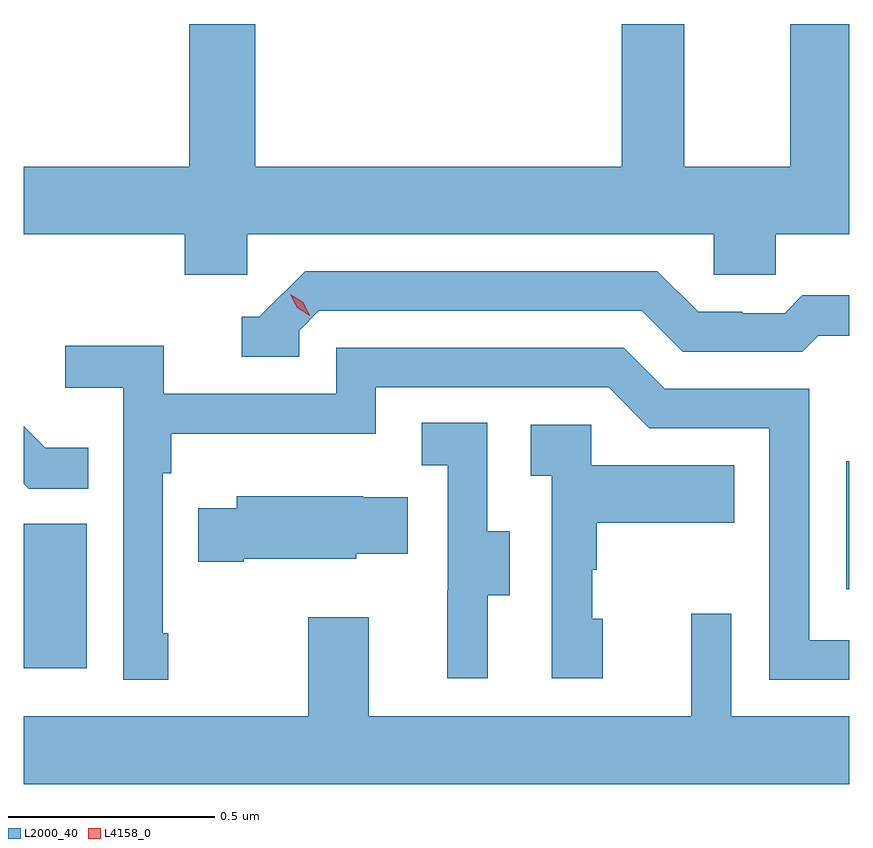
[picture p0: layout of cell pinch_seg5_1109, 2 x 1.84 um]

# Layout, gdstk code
import gdstk
lib = gdstk.Library(unit=1e-6, precision=1e-09)
def R(c, l, rs):  # rectangles x0, y0, x1, y1
    for r in rs: c.add(gdstk.rectangle(r[:2], r[2:], *l))
def P(c, l, *ps):  # polygons
    for p in ps: c.add(gdstk.Polygon(p, *l))
L2000_40 = (2000, 40)
L4158_0 = (4158, 0)

pinch_seg5_1109 = lib.new_cell('pinch_seg5_1109')
R(pinch_seg5_1109, L2000_40, [(837.353,873.024,837.505,873.375), (839.346,873.216,839.353,873.526)])
P(pinch_seg5_1109, L2000_40, [(837.894,874.076),(839.025,874.076),(839.025,873.978),(839.175,873.978),(839.175,874.076),(839.353,874.076),(839.353,874.586),(839.21,874.586),(839.21,874.24),(838.954,874.24),(838.954,874.586),(838.802,874.586),(838.802,874.24),(837.914,874.24),(837.914,874.586),(837.754,874.586),(837.754,874.24),(837.353,874.24),(837.353,874.076),(837.743,874.076),(837.743,873.978),(837.894,873.978)],
  [(838.02,873.843),(838.068,873.891),(838.851,873.891),(838.95,873.792),(839.239,873.792),(839.278,873.831),(839.353,873.831),(839.353,873.928),(839.239,873.928),(839.197,873.885),(839.094,873.885),(839.094,873.888),(838.987,873.888),(838.888,873.987),(838.035,873.987),(837.924,873.876),(837.881,873.876),(837.881,873.78),(838.02,873.78)],
  [(837.703,873.109),(837.69,873.109),(837.69,873.497),(837.71,873.497),(837.71,873.593),(838.206,873.593),(838.206,873.705),(838.77,873.705),(838.869,873.606),(839.16,873.606),(839.16,872.997),(839.353,872.997),(839.353,873.093),(839.256,873.093),(839.256,873.702),(838.906,873.702),(838.807,873.801),(838.11,873.801),(838.11,873.69),(837.692,873.69),(837.692,873.806),(837.453,873.806),(837.453,873.704),(837.594,873.704),(837.594,872.997),(837.703,872.997)],
  [(838.477,873.202),(838.531,873.202),(838.531,873.357),(838.476,873.357),(838.476,873.62),(838.317,873.62),(838.317,873.517),(838.38,873.517),(838.38,873.213),(838.379,873.213),(838.379,873),(838.477,873)],
  [(838.756,873.144),(838.731,873.144),(838.731,873.263),(838.741,873.263),(838.741,873.377),(839.075,873.377),(839.075,873.517),(838.728,873.517),(838.728,873.615),(838.581,873.615),(838.581,873.491),(838.632,873.491),(838.632,873),(838.756,873)],
  [(837.509,873.559),(837.405,873.559),(837.353,873.611),(837.353,873.472),(837.365,873.46),(837.509,873.46)],
  [(837.886,873.29),(838.158,873.29),(838.158,873.302),(838.283,873.302),(838.283,873.439),(838.175,873.439),(838.175,873.442),(837.869,873.442),(837.869,873.412),(837.775,873.412),(837.775,873.283),(837.886,873.283)],
  [(839.353,872.908),(839.067,872.908),(839.067,873.157),(838.97,873.157),(838.97,872.908),(838.189,872.908),(838.189,873.148),(838.042,873.148),(838.042,872.908),(837.353,872.908),(837.353,872.744),(839.353,872.744)])
P(pinch_seg5_1109, L4158_0, [(838.046,873.879),(838.015,873.898),(837.999,873.931),(837.999,873.931),(837.999,873.931),(838.03,873.912),(838.046,873.879),(838.046,873.879)])

lib.write_gds('pinch_seg5_1109.gds')
